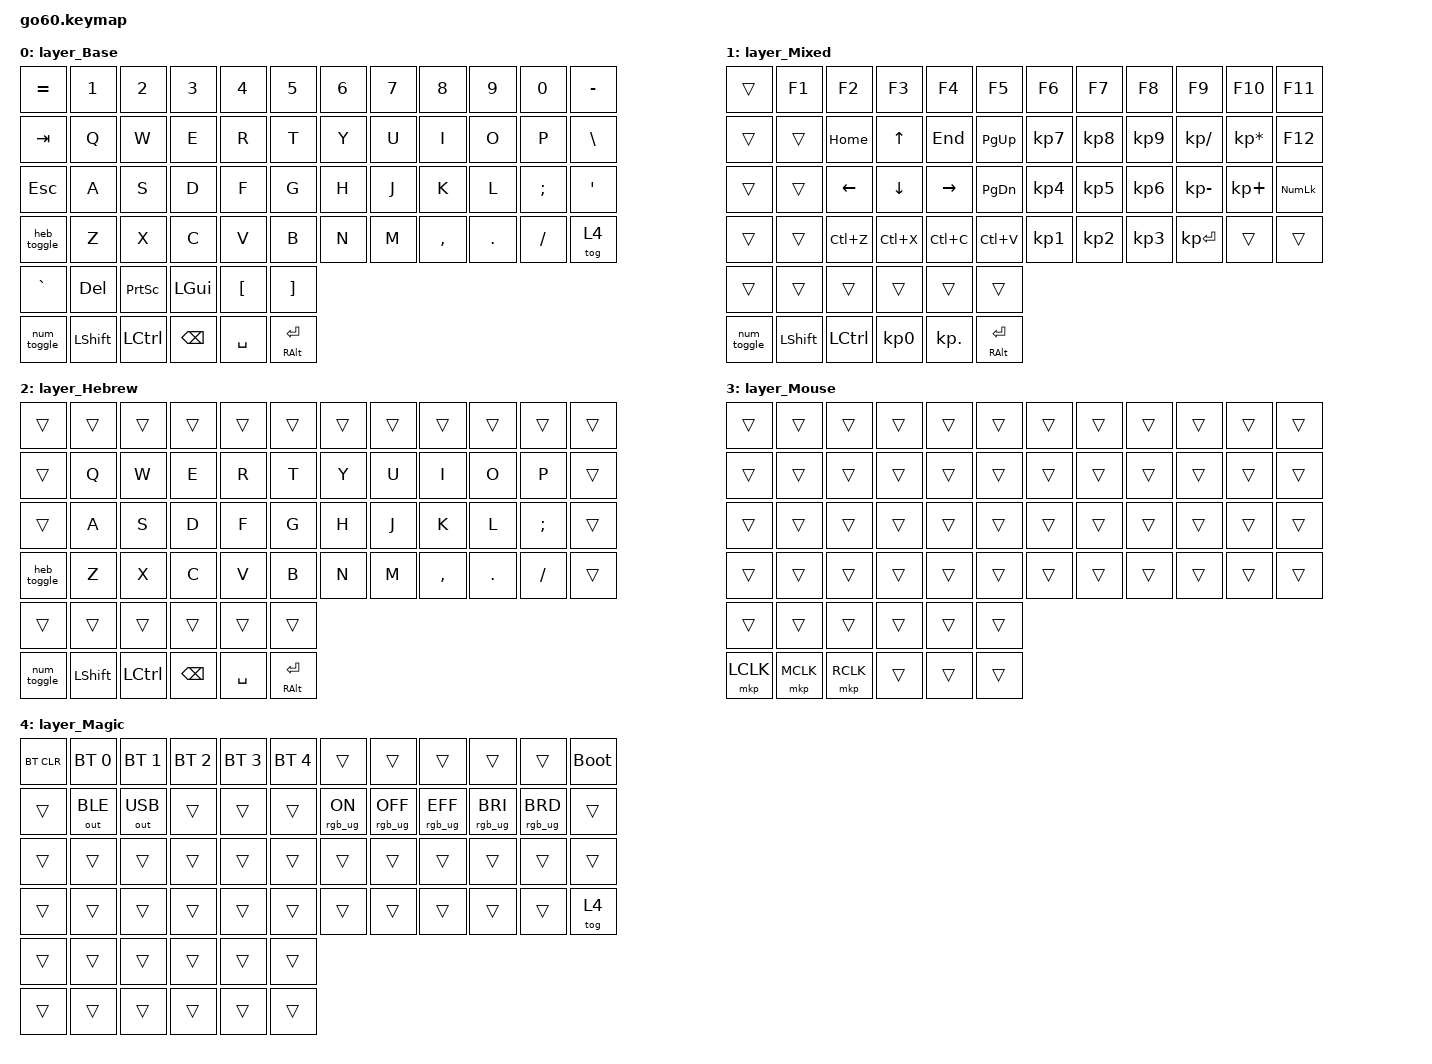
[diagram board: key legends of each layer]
#include <behaviors.dtsi>
#include <dt-bindings/zmk/keys.h>
#include <dt-bindings/zmk/bt.h>
#include <dt-bindings/zmk/rgb.h>
#include <dt-bindings/zmk/outputs.h>
#include <dt-bindings/zmk/mouse.h>
#include <input/processors.dtsi>


/* Layer Definitions */
#define LAYER_Base   0
#define LAYER_Mixed  1
#define LAYER_Hebrew 2
#define LAYER_Mouse  3
#define LAYER_Magic  4


&cirque_lh_listener {
    input-processors = <&zip_xy_scaler 4 15>,
                       <&zip_xy_to_scroll_mapper>,
                       <&zip_temp_layer 3 500>;
};


&cirque_rh_listener {
    input-processors = <&zip_xy_scaler 3 1>,
                       <&zip_temp_layer 3 500>;
};


/ {
macros {

num_toggle: num_toggle {
    compatible = "zmk,behavior-macro";
    #binding-cells = <0>;
    wait-ms = <10>;
    tap-ms = <10>;
    bindings = <&macro_tap &tog 1>;
};

heb_toggle: heb_toggle {
    compatible = "zmk,behavior-macro";
    #binding-cells = <0>;
    wait-ms = <50>;
    tap-ms = <50>;
    bindings
    = <&macro_tap &tog 2>
    , <&macro_tap &kp LA(LSHFT)>
    ;
};
};


keymap {
compatible = "zmk,keymap";

layer_Base {
bindings = <
&kp EQUAL    &kp N1    &kp N2    &kp N3    &kp N4    &kp N5    &kp N6    &kp N7    &kp N8    &kp N9     &kp N0    &kp MINUS
&kp TAB      &kp Q     &kp W     &kp E     &kp R     &kp T     &kp Y     &kp U     &kp I     &kp O      &kp P     &kp BSLH
&kp ESC      &kp A     &kp S     &kp D     &kp F     &kp G     &kp H     &kp J     &kp K     &kp L      &kp SEMI  &kp SQT
&heb_toggle  &kp Z     &kp X     &kp C     &kp V     &kp B     &kp N     &kp M     &kp COMMA &kp DOT    &kp FSLH  &tog 4
&kp GRAVE    &kp DEL   &kp PSCRN  &kp LGUI  &kp LBKT  &kp RBKT
&num_toggle  &kp LSHFT &kp LCTRL &kp BSPC  &kp SPACE  &mt RALT RET
>;
};

layer_Mixed {
bindings = <
&trans      &kp F1     &kp F2     &kp F3     &kp F4     &kp F5     &kp F6        &kp F7        &kp F8        &kp F9        &kp F10         &kp F11
&trans      &trans     &kp HOME   &kp UP     &kp END    &kp PG_UP  &kp KP_N7     &kp KP_N8     &kp KP_N9     &kp KP_SLASH  &kp KP_MULTIPLY &kp F12
&trans      &trans     &kp LEFT   &kp DOWN   &kp RIGHT  &kp PG_DN  &kp KP_N4     &kp KP_N5     &kp KP_N6     &kp KP_MINUS  &kp KP_PLUS     &kp KP_NUM
&trans      &trans     &kp LC(Z)  &kp LC(X)  &kp LC(C)  &kp LC(V)  &kp KP_N1     &kp KP_N2     &kp KP_N3     &kp KP_ENTER  &trans          &trans
&trans      &trans     &trans     &trans     &trans     &trans
&num_toggle &kp LSHFT  &kp LCTRL  &kp KP_N0  &kp KP_DOT &mt RALT RET
>;
};

layer_Hebrew {
bindings = <
&trans       &trans  &trans  &trans  &trans  &trans  &trans  &trans   &trans    &trans   &trans    &trans
&trans       &kp Q   &kp W   &kp E   &kp R   &kp T   &kp Y   &kp U    &kp I     &kp O    &kp P     &trans
&trans       &kp A   &kp S   &kp D   &kp F   &kp G   &kp H   &kp J    &kp K     &kp L    &kp SEMI  &trans
&heb_toggle  &kp Z   &kp X   &kp C   &kp V   &kp B   &kp N   &kp M    &kp COMMA &kp DOT  &kp FSLH  &trans
&trans       &trans      &trans    &trans    &trans    &trans
&num_toggle  &kp LSHFT   &kp LCTRL &kp BSPC  &kp SPACE  &mt RALT RET
>;
};

layer_Mouse {
bindings = <
&trans  &trans  &trans  &trans  &trans  &trans  &trans  &trans  &trans  &trans  &trans  &trans
&trans  &trans  &trans  &trans  &trans  &trans  &trans  &trans  &trans  &trans  &trans  &trans
&trans  &trans  &trans  &trans  &trans  &trans  &trans  &trans  &trans  &trans  &trans  &trans
&trans  &trans  &trans  &trans  &trans  &trans  &trans  &trans  &trans  &trans  &trans  &trans
&trans  &trans  &trans  &trans  &trans  &trans
&mkp LCLK  &mkp MCLK  &mkp RCLK  &trans  &trans  &trans
>;
};

layer_Magic {
bindings = <
&bt BT_CLR  &bt BT_SEL 0  &bt BT_SEL 1  &bt BT_SEL 2  &bt BT_SEL 3  &bt BT_SEL 4  &trans          &trans           &trans           &trans           &trans           &bootloader
&trans      &out OUT_BLE  &out OUT_USB  &trans        &trans        &trans        &rgb_ug RGB_ON  &rgb_ug RGB_OFF  &rgb_ug RGB_EFF  &rgb_ug RGB_BRI  &rgb_ug RGB_BRD  &trans
&trans      &trans        &trans        &trans        &trans        &trans        &trans          &trans           &trans           &trans           &trans           &trans
&trans      &trans        &trans        &trans        &trans        &trans        &trans          &trans           &trans           &trans           &trans           &tog 4
&trans      &trans        &trans        &trans        &trans        &trans
&trans      &trans        &trans        &trans        &trans        &trans
>;
};
};
};


#if __has_include(<dt-bindings/zmk/rgb_colors.h>)
#include <dt-bindings/zmk/rgb_colors.h>

/* Private color aliases — names guaranteed not to conflict */
#define Z_OFF &ug 0x000000
#define Z_ORN &ug 0xFF8000
#define Z_BLU &ug 0x0000FF
#define Z_CYN &ug 0x00FFFF
#define Z_GRN &ug 0x00FF00
#define Z_YLW &ug 0xFFFF00

/ {
  underglow-layer {
    compatible = "zmk,underglow-layer";

    #ifdef LAYER_Base
    Base {
      layer-id = <LAYER_Base>;
      fade-delay = <0xFFFFFFFF>;
      bindings = <
        Z_OFF Z_OFF Z_OFF Z_OFF Z_OFF Z_OFF     Z_OFF Z_OFF Z_OFF Z_OFF Z_OFF Z_OFF
        Z_OFF Z_OFF Z_OFF Z_OFF Z_OFF Z_OFF     Z_OFF Z_OFF Z_OFF Z_OFF Z_OFF Z_OFF
        Z_OFF Z_OFF Z_OFF Z_OFF Z_OFF Z_OFF     Z_OFF Z_OFF Z_OFF Z_OFF Z_OFF Z_OFF
        Z_OFF Z_OFF Z_OFF Z_OFF Z_OFF Z_OFF     Z_OFF Z_OFF Z_OFF Z_OFF Z_OFF Z_OFF
                Z_OFF Z_OFF Z_OFF                       Z_OFF Z_OFF Z_OFF
                         Z_OFF Z_OFF Z_OFF   Z_OFF Z_OFF Z_OFF
      >;
    };
    #endif

    #ifdef LAYER_Mixed
    Mixed {
      layer-id = <LAYER_Mixed>;
      fade-delay = <0xFFFFFFFF>;
      bindings = <
        Z_OFF Z_OFF Z_OFF Z_OFF Z_OFF Z_OFF     Z_OFF Z_OFF Z_OFF Z_OFF Z_OFF Z_OFF
        Z_OFF Z_OFF Z_OFF Z_ORN Z_OFF Z_OFF     Z_BLU Z_BLU Z_BLU Z_CYN Z_CYN Z_OFF
        Z_OFF Z_OFF Z_ORN Z_ORN Z_ORN Z_OFF     Z_BLU Z_BLU Z_BLU Z_CYN Z_CYN Z_OFF
        Z_OFF Z_OFF Z_OFF Z_OFF Z_OFF Z_OFF     Z_BLU Z_BLU Z_BLU Z_CYN Z_OFF Z_OFF
                Z_OFF Z_OFF Z_OFF                       Z_OFF Z_OFF Z_OFF
                         Z_OFF Z_OFF Z_OFF   Z_BLU Z_BLU Z_OFF
      >;
    };
    #endif

    #ifdef LAYER_Hebrew
    Hebrew {
      layer-id = <LAYER_Hebrew>;
      fade-delay = <0xFFFFFFFF>;
      bindings = <
        Z_OFF Z_OFF Z_OFF Z_OFF Z_OFF Z_OFF     Z_OFF Z_OFF Z_OFF Z_OFF Z_OFF Z_OFF
        Z_OFF Z_OFF Z_OFF Z_OFF Z_OFF Z_OFF     Z_OFF Z_OFF Z_OFF Z_OFF Z_OFF Z_OFF
        Z_OFF Z_OFF Z_OFF Z_OFF Z_OFF Z_OFF     Z_OFF Z_OFF Z_OFF Z_OFF Z_OFF Z_OFF
        Z_GRN Z_OFF Z_OFF Z_OFF Z_OFF Z_OFF     Z_OFF Z_OFF Z_OFF Z_OFF Z_OFF Z_OFF
                Z_OFF Z_OFF Z_OFF                       Z_OFF Z_OFF Z_OFF
                         Z_OFF Z_OFF Z_OFF   Z_OFF Z_OFF Z_OFF
      >;
    };
    #endif

    #ifdef LAYER_Mouse
    Mouse {
      layer-id = <LAYER_Mouse>;
      fade-delay = <5>;
      bindings = <
        Z_OFF Z_OFF Z_OFF Z_OFF Z_OFF Z_OFF     Z_OFF Z_OFF Z_OFF Z_OFF Z_OFF Z_OFF
        Z_OFF Z_OFF Z_OFF Z_OFF Z_OFF Z_OFF     Z_OFF Z_OFF Z_OFF Z_OFF Z_OFF Z_OFF
        Z_OFF Z_OFF Z_OFF Z_OFF Z_OFF Z_OFF     Z_OFF Z_OFF Z_OFF Z_OFF Z_OFF Z_OFF
        Z_OFF Z_OFF Z_OFF Z_OFF Z_OFF Z_OFF     Z_OFF Z_OFF Z_OFF Z_OFF Z_OFF Z_OFF
                Z_OFF Z_OFF Z_OFF                       Z_OFF Z_OFF Z_OFF
                         Z_YLW Z_YLW Z_YLW   Z_OFF Z_OFF Z_OFF
      >;
    };
    #endif

    #ifdef LAYER_Magic
    Magic {
      layer-id = <LAYER_Magic>;
      fade-delay = <0xFFFFFFFF>;
      bindings = <
        Z_OFF Z_OFF Z_OFF Z_OFF Z_OFF Z_OFF     Z_OFF Z_OFF Z_OFF Z_OFF Z_OFF Z_OFF
        Z_OFF Z_OFF Z_OFF Z_OFF Z_OFF Z_OFF     Z_OFF Z_OFF Z_OFF Z_OFF Z_OFF Z_OFF
        Z_OFF Z_OFF Z_OFF Z_OFF Z_OFF Z_OFF     Z_OFF Z_OFF Z_OFF Z_OFF Z_OFF Z_OFF
        Z_OFF Z_OFF Z_OFF Z_OFF Z_OFF Z_OFF     Z_OFF Z_OFF Z_OFF Z_OFF Z_OFF Z_OFF
                Z_OFF Z_OFF Z_OFF                       Z_OFF Z_OFF Z_OFF
                         Z_OFF Z_OFF Z_OFF   Z_OFF Z_OFF Z_OFF
      >;
    };
    #endif

  };
};

#undef Z_OFF
#undef Z_ORN
#undef Z_BLU
#undef Z_CYN
#undef Z_GRN
#undef Z_YLW

#endif
